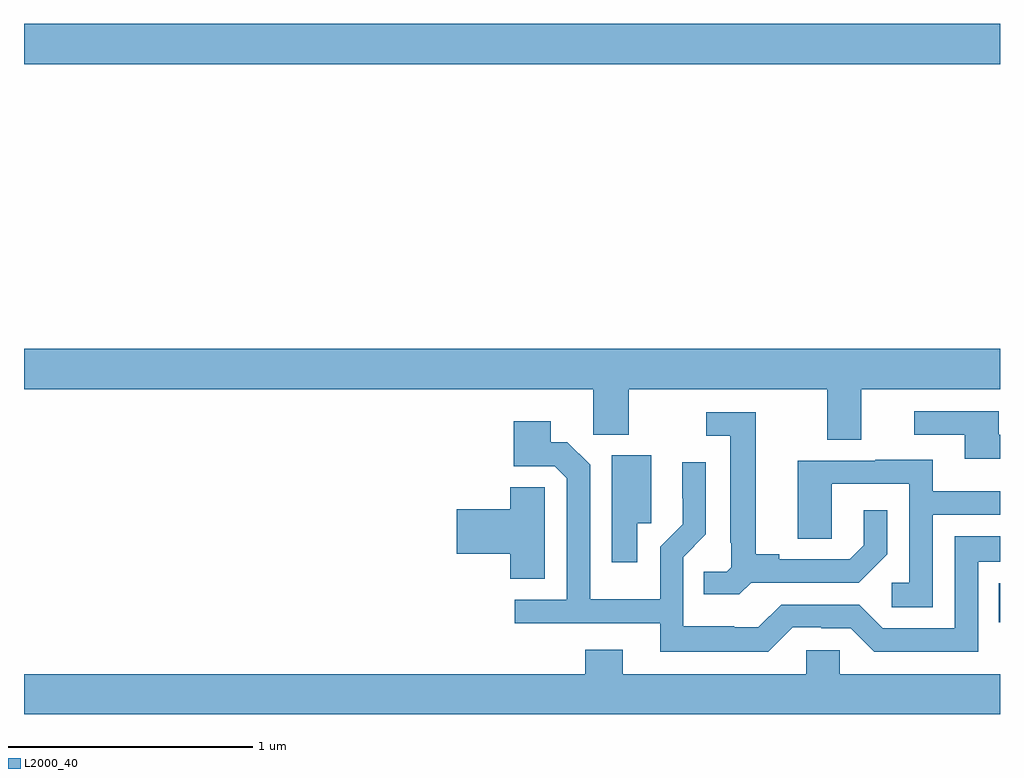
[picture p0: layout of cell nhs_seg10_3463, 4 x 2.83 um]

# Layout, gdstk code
import gdstk
lib = gdstk.Library(unit=1e-6, precision=1e-09)
def R(c, l, rs):  # rectangles x0, y0, x1, y1
    for r in rs: c.add(gdstk.rectangle(r[:2], r[2:], *l))
def P(c, l, *ps):  # polygons
    for p in ps: c.add(gdstk.Polygon(p, *l))
L2000_40 = (2000, 40)

nhs_seg10_3463 = lib.new_cell('nhs_seg10_3463')
R(nhs_seg10_3463, L2000_40, [(302.995,1298.028,303,1298.187), (299,1300.316,303,1300.48)])
P(nhs_seg10_3463, L2000_40, [(302.431,1298.984),(303,1298.984),(303,1299.148),(299,1299.148),(299,1298.984),(301.332,1298.984),(301.332,1298.797),(301.479,1298.797),(301.479,1298.984),(302.291,1298.984),(302.291,1298.776),(302.431,1298.776)],
  [(303,1298.796),(302.995,1298.796),(302.995,1298.892),(302.649,1298.892),(302.649,1298.796),(302.855,1298.796),(302.855,1298.699),(303,1298.699)],
  [(301.98,1298.19),(302.422,1298.19),(302.538,1298.306),(302.538,1298.488),(302.441,1298.488),(302.441,1298.343),(302.384,1298.286),(302.095,1298.286),(302.095,1298.306),(301.999,1298.306),(301.999,1298.889),(301.797,1298.889),(301.797,1298.793),(301.895,1298.793),(301.895,1298.353),(301.899,1298.353),(301.899,1298.253),(301.881,1298.235),(301.786,1298.235),(301.786,1298.143),(301.932,1298.143)],
  [(302.151,1298.007),(302.268,1298.007),(302.268,1298.004),(302.388,1298.004),(302.484,1297.908),(302.91,1297.908),(302.91,1298.277),(303,1298.277),(303,1298.38),(302.814,1298.38),(302.814,1298.004),(302.52,1298.004),(302.424,1298.1),(302.103,1298.1),(302.01,1298.007),(301.91,1298.007),(301.91,1298.011),(301.701,1298.011),(301.701,1298.295),(301.794,1298.388),(301.794,1298.683),(301.698,1298.683),(301.698,1298.536),(301.7,1298.536),(301.7,1298.43),(301.608,1298.338),(301.608,1298.122),(301.32,1298.122),(301.32,1298.673),(301.227,1298.766),(301.159,1298.766),(301.159,1298.851),(301.007,1298.851),(301.007,1298.667),(301.176,1298.667),(301.224,1298.619),(301.224,1298.121),(301.011,1298.121),(301.011,1298.025),(301.607,1298.025),(301.607,1297.907),(302.051,1297.907)],
  [(301.513,1298.433),(301.57,1298.433),(301.57,1298.712),(301.409,1298.712),(301.409,1298.274),(301.513,1298.274)],
  [(302.724,1298.469),(303,1298.469),(303,1298.566),(302.725,1298.566),(302.725,1298.695),(302.489,1298.695),(302.489,1298.691),(302.171,1298.691),(302.171,1298.371),(302.31,1298.371),(302.31,1298.595),(302.628,1298.595),(302.628,1298.19),(302.556,1298.19),(302.556,1298.089),(302.724,1298.089)],
  [(301.135,1298.474),(301.134,1298.474),(301.134,1298.582),(300.992,1298.582),(300.992,1298.492),(300.774,1298.492),(300.774,1298.309),(300.992,1298.309),(300.992,1298.206),(301.135,1298.206)],
  [(303,1297.816),(302.343,1297.816),(302.343,1297.914),(302.205,1297.914),(302.205,1297.816),(301.453,1297.816),(301.453,1297.915),(301.301,1297.915),(301.301,1297.816),(299,1297.816),(299,1297.652),(303,1297.652)])

lib.write_gds('nhs_seg10_3463.gds')
